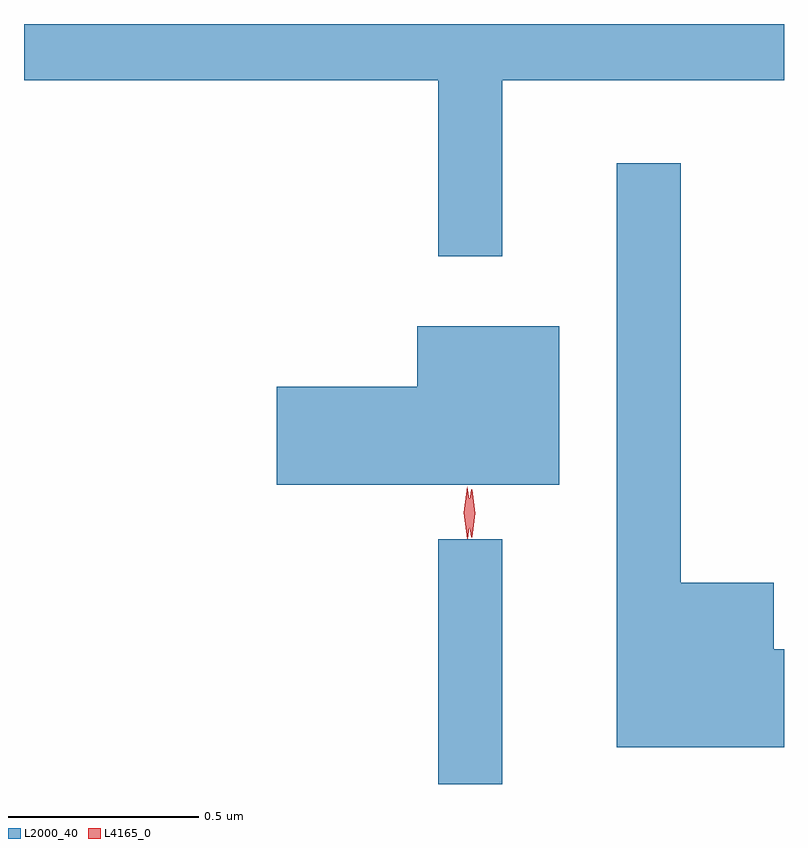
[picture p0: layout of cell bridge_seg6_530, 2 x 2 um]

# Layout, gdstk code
import gdstk
lib = gdstk.Library(unit=1e-6, precision=1e-09)
def R(c, l, rs):  # rectangles x0, y0, x1, y1
    for r in rs: c.add(gdstk.rectangle(r[:2], r[2:], *l))
def P(c, l, *ps):  # polygons
    for p in ps: c.add(gdstk.Polygon(p, *l))
L2000_40 = (2000, 40)
L4165_0 = (4165, 0)

bridge_seg6_530 = lib.new_cell('bridge_seg6_530')
R(bridge_seg6_530, L2000_40, [(991.981,1590.364,992.149,1591.008)])
P(bridge_seg6_530, L2000_40, [(992.149,1592.216),(992.891,1592.216),(992.891,1592.364),(990.891,1592.364),(990.891,1592.216),(991.981,1592.216),(991.981,1591.753),(992.149,1591.753)],
  [(992.891,1590.719),(992.864,1590.719),(992.864,1590.894),(992.619,1590.894),(992.619,1591.998),(992.451,1591.998),(992.451,1590.461),(992.891,1590.461)],
  [(992.299,1591.569),(991.926,1591.569),(991.926,1591.409),(991.556,1591.409),(991.556,1591.151),(992.299,1591.151)])
P(bridge_seg6_530, L4165_0, [(992.068,1591.013),(992.059,1591.076),(992.068,1591.139),(992.069,1591.14),(992.07,1591.139),(992.079,1591.076),(992.07,1591.013),(992.069,1591.013)],
  [(992.058,1591.01),(992.048,1591.078),(992.057,1591.146),(992.057,1591.146),(992.058,1591.146),(992.068,1591.078),(992.059,1591.01),(992.059,1591.01)])

lib.write_gds('bridge_seg6_530.gds')
